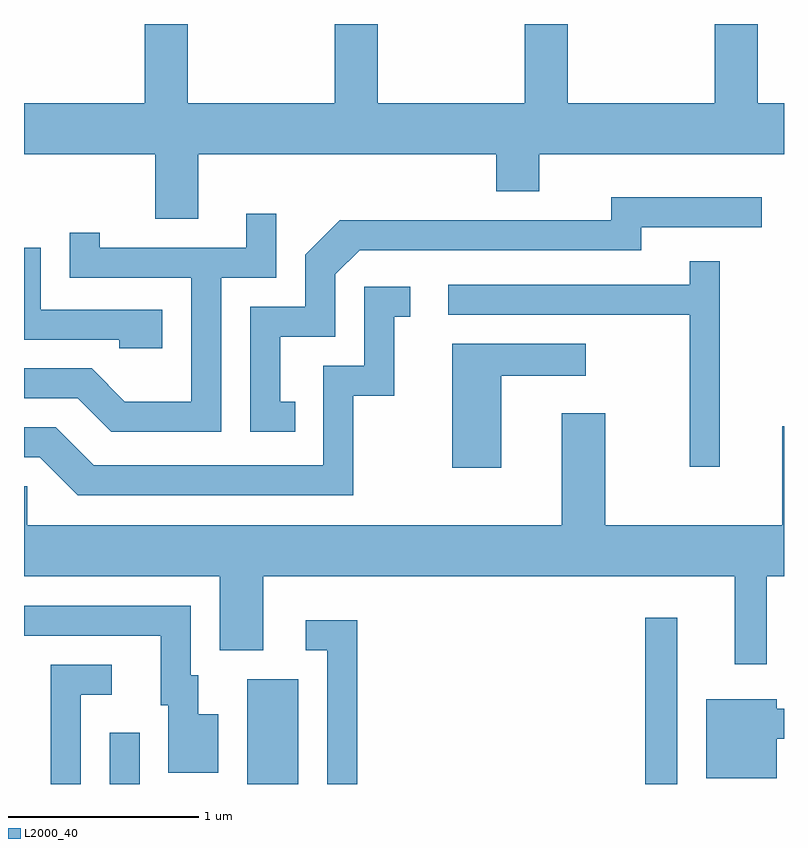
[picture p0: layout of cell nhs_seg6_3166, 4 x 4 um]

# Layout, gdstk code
import gdstk
lib = gdstk.Library(unit=1e-6, precision=1e-09)
def R(c, l, rs):  # rectangles x0, y0, x1, y1
    for r in rs: c.add(gdstk.rectangle(r[:2], r[2:], *l))
def P(c, l, *ps):  # polygons
    for p in ps: c.add(gdstk.Polygon(p, *l))
L2000_40 = (2000, 40)

nhs_seg6_3166 = lib.new_cell('nhs_seg6_3166')
R(nhs_seg6_3166, L2000_40, [(280.061,1662.162,280.219,1662.433), (280.786,1662.162,281.054,1662.714), (282.881,1662.162,283.049,1663.038)])
P(nhs_seg6_3166, L2000_40, [(280.529,1665.476),(282.096,1665.476),(282.096,1665.281),(282.324,1665.281),(282.324,1665.476),(283.611,1665.476),(283.611,1665.744),(283.474,1665.744),(283.474,1666.162),(283.246,1666.162),(283.246,1665.744),(282.474,1665.744),(282.474,1666.162),(282.246,1666.162),(282.246,1665.744),(281.474,1665.744),(281.474,1666.162),(281.246,1666.162),(281.246,1665.744),(280.474,1665.744),(280.474,1666.162),(280.246,1666.162),(280.246,1665.744),(279.611,1665.744),(279.611,1665.476),(280.301,1665.476),(280.301,1665.136),(280.529,1665.136)],
  [(281.038,1664.174),(280.959,1664.174),(280.959,1664.516),(281.249,1664.516),(281.249,1664.844),(281.377,1664.971),(282.859,1664.971),(282.859,1665.091),(283.493,1665.091),(283.493,1665.249),(282.701,1665.249),(282.701,1665.129),(281.274,1665.129),(281.091,1664.947),(281.091,1664.674),(280.801,1664.674),(280.801,1664.016),(281.038,1664.016)],
  [(280.649,1664.826),(280.939,1664.826),(280.939,1665.163),(280.781,1665.163),(280.781,1664.984),(280.009,1664.984),(280.009,1665.063),(279.851,1665.063),(279.851,1664.826),(280.491,1664.826),(280.491,1664.174),(280.142,1664.174),(279.967,1664.349),(279.611,1664.349),(279.611,1664.191),(279.894,1664.191),(280.069,1664.016),(280.649,1664.016)],
  [(280.339,1664.659),(279.699,1664.659),(279.699,1664.984),(279.611,1664.984),(279.611,1664.501),(280.111,1664.501),(280.111,1664.456),(280.339,1664.456)],
  [(283.274,1664.913),(283.116,1664.913),(283.116,1664.789),(281.843,1664.789),(281.843,1664.631),(283.116,1664.631),(283.116,1663.833),(283.274,1663.833)],
  [(281.344,1664.206),(281.559,1664.206),(281.559,1664.621),(281.643,1664.621),(281.643,1664.779),(281.401,1664.779),(281.401,1664.364),(281.186,1664.364),(281.186,1663.839),(279.977,1663.839),(279.777,1664.039),(279.611,1664.039),(279.611,1663.881),(279.694,1663.881),(279.894,1663.681),(281.344,1663.681)],
  [(282.124,1664.311),(282.568,1664.311),(282.568,1664.479),(281.866,1664.479),(281.866,1663.826),(282.124,1663.826)],
  [(283.519,1663.256),(283.611,1663.256),(283.611,1664.044),(283.601,1664.044),(283.601,1663.524),(282.669,1663.524),(282.669,1664.114),(282.441,1664.114),(282.441,1663.524),(279.629,1663.524),(279.629,1663.729),(279.611,1663.729),(279.611,1663.256),(280.641,1663.256),(280.641,1662.866),(280.869,1662.866),(280.869,1663.256),(283.351,1663.256),(283.351,1662.793),(283.519,1662.793)],
  [(280.634,1662.529),(280.529,1662.529),(280.529,1662.734),(280.489,1662.734),(280.489,1663.099),(279.611,1663.099),(279.611,1662.941),(280.331,1662.941),(280.331,1662.576),(280.371,1662.576),(280.371,1662.221),(280.634,1662.221)],
  [(281.364,1663.024),(281.093,1663.024),(281.093,1662.866),(281.206,1662.866),(281.206,1662.162),(281.364,1662.162)],
  [(279.909,1662.631),(280.073,1662.631),(280.073,1662.789),(279.751,1662.789),(279.751,1662.162),(279.909,1662.162)],
  [(283.574,1662.401),(283.611,1662.401),(283.611,1662.559),(283.574,1662.559),(283.574,1662.609),(283.201,1662.609),(283.201,1662.191),(283.574,1662.191)])

lib.write_gds('nhs_seg6_3166.gds')
